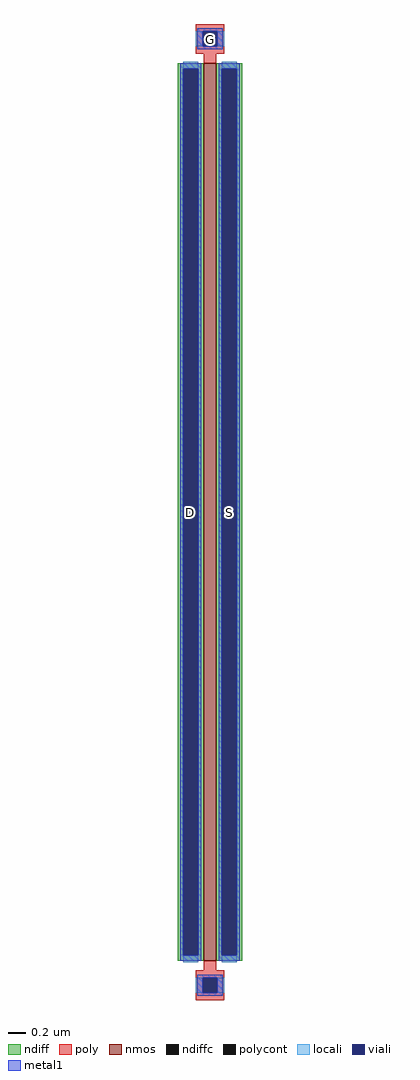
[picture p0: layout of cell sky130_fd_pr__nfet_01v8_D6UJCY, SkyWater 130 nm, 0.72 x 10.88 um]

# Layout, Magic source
magic
tech sky130A
<< nmos >>
rect -7 -500 7 500
<< ndiff >>
rect -36 494 -7 500
rect -36 -494 -30 494
rect -13 -494 -7 494
rect -36 -500 -7 -494
rect 7 494 36 500
rect 7 -494 13 494
rect 30 -494 36 494
rect 7 -500 36 -494
<< ndiffc >>
rect -30 -494 -13 494
rect 13 -494 30 494
<< poly >>
rect -16 536 16 544
rect -16 519 -8 536
rect 8 519 16 536
rect -16 511 16 519
rect -7 500 7 511
rect -7 -511 7 -500
rect -16 -519 16 -511
rect -16 -536 -8 -519
rect 8 -536 16 -519
rect -16 -544 16 -536
<< polycont >>
rect -8 519 8 536
rect -8 -536 8 -519
<< locali >>
rect -16 519 -8 536
rect 8 519 16 536
rect -30 494 -13 502
rect -30 -502 -13 -494
rect 13 494 30 502
rect 13 -502 30 -494
rect -16 -536 -8 -519
rect 8 -536 16 -519
<< viali >>
rect -8 519 8 536
rect -30 -494 -13 494
rect 13 -494 30 494
rect -8 -536 8 -519
<< metal1 >>
rect -14 536 14 539
rect -14 519 -8 536
rect 8 519 14 536
rect -14 516 14 519
rect -33 494 -10 500
rect -33 -494 -30 494
rect -13 -494 -10 494
rect -33 -500 -10 -494
rect 10 494 33 500
rect 10 -494 13 494
rect 30 -494 33 494
rect 10 -500 33 -494
rect -14 -519 14 -516
rect -14 -536 -8 -519
rect 8 -536 14 -519
rect -14 -539 14 -536
<< labels >>
rlabel ndiffc -22 0 -22 0 0 D
port 1 nsew
rlabel ndiffc 22 0 22 0 0 S
port 2 nsew
rlabel polycont 0 527 0 527 0 G
port 3 nsew
<< properties >>
string gencell sky130_fd_pr__nfet_01v8
string library sky130
string parameters w 10 l 0.15 m 1 nf 1 diffcov 100 polycov 100 guard 0 glc 1 grc 1 gtc 1 gbc 1 tbcov 100 rlcov 100 topc 1 botc 1 poverlap 0 doverlap 1 lmin 0.15 wmin 0.42 class mosfet compatible {sky130_fd_pr__nfet_01v8 sky130_fd_pr__nfet_01v8_lvt  sky130_fd_bs_flash__special_sonosfet_star  sky130_fd_pr__nfet_g5v0d10v5 sky130_fd_pr__nfet_05v0_nvt  sky130_fd_pr__nfet_03v3_nvt} full_metal 1 conn_gates 0 viasrc 100 viadrn 100 viagate 100 viagb 0 viagr 0 viagl 0 viagt 0 doports 1
<< end >>
